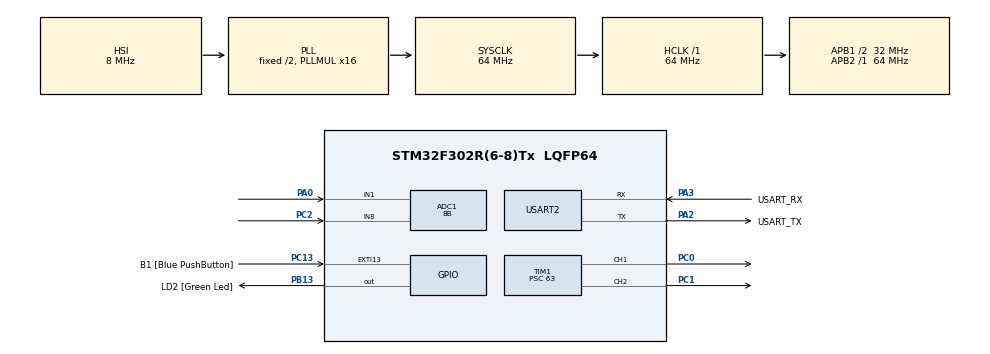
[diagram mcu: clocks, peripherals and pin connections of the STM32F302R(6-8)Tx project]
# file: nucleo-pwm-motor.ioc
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ADC1.Channel-0\#ChannelRegularConversion=ADC_CHANNEL_1
ADC1.Channel-2\#ChannelRegularConversion=ADC_CHANNEL_8
ADC1.ContinuousConvMode=ENABLE
ADC1.NbrOfConversion=2
ADC1.NbrOfConversionFlag=1
ADC1.Offset-0\#ChannelRegularConversion=0
ADC1.Offset-2\#ChannelRegularConversion=0
ADC1.OffsetNumber-0\#ChannelRegularConversion=ADC_OFFSET_NONE
ADC1.OffsetNumber-2\#ChannelRegularConversion=ADC_OFFSET_NONE
ADC1.Rank-0\#ChannelRegularConversion=1
ADC1.Rank-2\#ChannelRegularConversion=2
ADC1.Resolution=ADC_RESOLUTION_8B
ADC1.SamplingTime-0\#ChannelRegularConversion=ADC_SAMPLETIME_1CYCLE_5
ADC1.SamplingTime-2\#ChannelRegularConversion=ADC_SAMPLETIME_1CYCLE_5
ADC1.SamplingTimeOPAMP-2\#ChannelRegularConversion=ADC_SAMPLETIME_61CYCLES_5
ADC1.SequencerNbRanks=2
ADC1.master=1
Dma.Request0=USART2_RX
Dma.USART2_RX.0.Direction=DMA_PERIPH_TO_MEMORY
Dma.USART2_RX.0.Instance=DMA1_Channel6
Dma.USART2_RX.0.MemDataAlignment=DMA_MDATAALIGN_BYTE
Dma.USART2_RX.0.MemInc=DMA_MINC_ENABLE
Dma.USART2_RX.0.Mode=DMA_NORMAL
Dma.USART2_RX.0.PeriphDataAlignment=DMA_PDATAALIGN_BYTE
Dma.USART2_RX.0.PeriphInc=DMA_PINC_DISABLE
Dma.USART2_RX.0.Priority=DMA_PRIORITY_LOW
Mcu.Family=STM32F3
Mcu.Name=STM32F302R(6-8)Tx
Mcu.Package=LQFP64
NVIC.DMA1_Channel6_IRQn=true\:0\:0\:false\:false\:true\:false\:true
NVIC.PriorityGroup=NVIC_PRIORITYGROUP_0
PA0.Mode=IN1-Single-Ended
PA0.Signal=ADC1_IN1
PA13.GPIO_Label=TMS
PA13.Mode=Serial_Wire
PA13.Signal=SYS_JTMS-SWDIO
PA14.GPIO_Label=TCK
PA14.Mode=Serial_Wire
PA14.Signal=SYS_JTCK-SWCLK
PA2.GPIO_Label=USART_TX
PA2.GPIO_Mode=GPIO_MODE_AF_PP
PA2.GPIO_PuPd=GPIO_NOPULL
PA2.GPIO_Speed=GPIO_SPEED_FREQ_LOW
PA2.Mode=Asynchronous
PA2.Signal=USART2_TX
PA3.GPIO_Label=USART_RX
PA3.GPIO_Mode=GPIO_MODE_AF_PP
PA3.GPIO_PuPd=GPIO_NOPULL
PA3.GPIO_Speed=GPIO_SPEED_FREQ_LOW
PA3.Mode=Asynchronous
PA3.Signal=USART2_RX
PB13.GPIO_Label=LD2 [Green Led]
PB13.Signal=GPIO_Output
PB3.GPIO_Label=SWO
PB3.Mode=Trace_Asynchronous_SW
PB3.Signal=SYS_JTDO-TRACESWO
PC0.Signal=S_TIM1_CH1
PC1.Signal=S_TIM1_CH2
PC13.GPIO_Label=B1 [Blue PushButton]
PC13.GPIO_ModeDefaultEXTI=GPIO_MODE_IT_FALLING
PC13.Signal=GPXTI13
PC14\ -\ OSC32_IN.Mode=LSE-External-Oscillator
PC14\ -\ OSC32_IN.Signal=RCC_OSC32_IN
PC15\ -\ OSC32_OUT.Mode=LSE-External-Oscillator
PC15\ -\ OSC32_OUT.Signal=RCC_OSC32_OUT
PC2.Signal=ADCx_IN8
PF0-OSC_IN.Mode=HSE-External-Clock-Source
PF0-OSC_IN.Signal=RCC_OSC_IN
PF1-OSC_OUT.Signal=RCC_OSC_OUT
ProjectManager.HeapSize=0x200
ProjectManager.StackSize=0x400
ProjectManager.TargetToolchain=STM32CubeIDE
RCC.AHBFreq_Value=64000000
RCC.APB1CLKDivider=RCC_HCLK_DIV2
RCC.APB1Freq_Value=32000000
RCC.APB1TimFreq_Value=64000000
RCC.APB2Freq_Value=64000000
RCC.APB2TimFreq_Value=64000000
RCC.CortexFreq_Value=64000000
RCC.HCLKFreq_Value=64000000
RCC.HSE_VALUE=8000000
RCC.HSI_VALUE=8000000
RCC.PLLM=8
RCC.PLLMUL=RCC_PLL_MUL16
RCC.PLLN=336
RCC.PLLP=RCC_PLLP_DIV4
RCC.PLLQ=7
RCC.RCC_PLLsource_Clock_Source_FROM_HSE=RCC_HSE_PREDIV_DIV2
RCC.SYSCLKFreq_VALUE=64000000
RCC.SYSCLKSourceVirtual=RCC_SYSCLKSOURCE_PLLCLK
RCC.USBFreq_Value=64000000
SH.ADCx_IN8.0=ADC1_IN8,IN8-Single-Ended
SH.S_TIM1_CH1.0=TIM1_CH1,PWM Generation1 CH1
SH.S_TIM1_CH2.0=TIM1_CH2,PWM Generation2 CH2
TIM1.AutoReloadPreload=TIM_AUTORELOAD_PRELOAD_ENABLE
TIM1.Channel-PWM\ Generation1\ CH1=TIM_CHANNEL_1
TIM1.Channel-PWM\ Generation2\ CH2=TIM_CHANNEL_2
TIM1.OCPolarity_2=TIM_OCPOLARITY_LOW
TIM1.Period=99
TIM1.Prescaler=63
USART2.VirtualMode-Asynchronous=VM_ASYNC
VP_TIM1_VS_ClockSourceINT.Mode=Internal
board=NUCLEO-F302R8

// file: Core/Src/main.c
/* USER CODE BEGIN Header */
/**
  ******************************************************************************
  * @file           : main.c
  * @brief          : Main program body
  ******************************************************************************
  * @attention
  *
  * <h2><center>&copy; Copyright (c) 2023 STMicroelectronics.
  * All rights reserved.</center></h2>
  *
  * This software component is licensed by ST under BSD 3-Clause license,
  * the "License"; You may not use this file except in compliance with the
  * License. You may obtain a copy of the License at:
  *                        opensource.org/licenses/BSD-3-Clause
  *
  ******************************************************************************
  */
/* USER CODE END Header */
#include "main.h"

ADC_HandleTypeDef hadc1;

TIM_HandleTypeDef htim1;

UART_HandleTypeDef huart2;
DMA_HandleTypeDef hdma_usart2_rx;

void SystemClock_Config(void);
static void MX_GPIO_Init(void);
static void MX_DMA_Init(void);
static void MX_USART2_UART_Init(void);
static void MX_TIM1_Init(void);
static void MX_ADC1_Init(void);

/* USER CODE BEGIN 0 */
uint8_t rx_data[];
uint8_t tx_data[];
uint16_t rawValue;

void HAL_UART_RxCpltCallback(UART_HandleTypeDef *huart){

  UNUSED(huart);

  // Receive
  uint8_t buffer_1 = rx_data[0]; // Header
  uint8_t buffer_2 = rx_data[1]; // Function COde
  uint8_t buffer_3 = rx_data[2]; // PWM-A Duty Cycle
  uint8_t buffer_4 = rx_data[3]; // PWM-B Duty Cycle

  uint8_t pwm_A = buffer_3;
  uint8_t pwm_B = buffer_4;

  htim1.Instance->CCR1 = pwm_A;
  htim1.Instance->CCR2 = pwm_B;

  // Transmit
  tx_data[0] = 0x10;
  tx_data[1] = 0x03;
  tx_data[2] = rawValue;
  tx_data[3] = pwm_A;
  tx_data[4] = pwm_B;

  HAL_UART_Transmit(&huart2, tx_data, 5, HAL_MAX_DELAY);

}

/* USER CODE END 0 */

int main(void)
{

  /* MCU Configuration--------------------------------------------------------*/

  /* Reset of all peripherals, Initializes the Flash interface and the Systick. */
  HAL_Init();

  /* Configure the system clock */
  SystemClock_Config();

  /* Initialize all configured peripherals */
  MX_GPIO_Init();
  MX_DMA_Init();
  MX_USART2_UART_Init();
  MX_TIM1_Init();
  MX_ADC1_Init();
  /* USER CODE BEGIN 2 */

  // Initialize PWM
  HAL_TIM_PWM_Start(&htim1, TIM_CHANNEL_1);
  HAL_TIM_PWM_Start(&htim1, TIM_CHANNEL_2);

  // Initialize ADC
  HAL_ADC_Start(&hadc1);

  // Initialize UART and DMA
  HAL_UART_Receive_DMA(&huart2, rx_data, 4);

  /* USER CODE END 2 */

  /* Infinite loop */
  /* USER CODE BEGIN WHILE */
  while (1)
  {

	  // Q1: PWM
	  // htim1.Instance->CCR2 = 20;
	  // htim1.Instance->CCR1 = 20;

	  // Q2: ADC
	  char msg[32];

	  HAL_ADC_PollForConversion(&hadc1, HAL_MAX_DELAY);
	  rawValue = HAL_ADC_GetValue(&hadc1);
	  //sprintf(msg,"rawValue: %hu\r\n", rawValue);
	  //HAL_UART_Transmit(&huart2, (uint8_t*)msg, strlen(msg), HAL_MAX_DELAY);
      //HAL_Delay(100);

	  // Q3: UART
	  // Nothing because we are using DMA

    /* USER CODE END WHILE */

  }
}

void SystemClock_Config(void)
{
  RCC_OscInitTypeDef RCC_OscInitStruct = {0};
  RCC_ClkInitTypeDef RCC_ClkInitStruct = {0};
  RCC_PeriphCLKInitTypeDef PeriphClkInit = {0};

  /** Initializes the RCC Oscillators according to the specified parameters
  * in the RCC_OscInitTypeDef structure.
  */
  RCC_OscInitStruct.OscillatorType = RCC_OSCILLATORTYPE_HSI;
  RCC_OscInitStruct.HSIState = RCC_HSI_ON;
  RCC_OscInitStruct.HSICalibrationValue = RCC_HSICALIBRATION_DEFAULT;
  RCC_OscInitStruct.PLL.PLLState = RCC_PLL_ON;
  RCC_OscInitStruct.PLL.PLLSource = RCC_PLLSOURCE_HSI;
  RCC_OscInitStruct.PLL.PLLMUL = RCC_PLL_MUL16;
  if (HAL_RCC_OscConfig(&RCC_OscInitStruct) != HAL_OK)
  {
    Error_Handler();
  }
  /** Initializes the CPU, AHB and APB buses clocks
  */
  RCC_ClkInitStruct.ClockType = RCC_CLOCKTYPE_HCLK|RCC_CLOCKTYPE_SYSCLK
                              |RCC_CLOCKTYPE_PCLK1|RCC_CLOCKTYPE_PCLK2;
  RCC_ClkInitStruct.SYSCLKSource = RCC_SYSCLKSOURCE_PLLCLK;
  RCC_ClkInitStruct.AHBCLKDivider = RCC_SYSCLK_DIV1;
  RCC_ClkInitStruct.APB1CLKDivider = RCC_HCLK_DIV2;
  RCC_ClkInitStruct.APB2CLKDivider = RCC_HCLK_DIV1;

  if (HAL_RCC_ClockConfig(&RCC_ClkInitStruct, FLASH_LATENCY_2) != HAL_OK)
  {
    Error_Handler();
  }
  PeriphClkInit.PeriphClockSelection = RCC_PERIPHCLK_TIM1|RCC_PERIPHCLK_ADC1;
  PeriphClkInit.Tim1ClockSelection = RCC_TIM1CLK_HCLK;
  PeriphClkInit.Adc1ClockSelection = RCC_ADC1PLLCLK_DIV1;

  if (HAL_RCCEx_PeriphCLKConfig(&PeriphClkInit) != HAL_OK)
  {
    Error_Handler();
  }
}

static void MX_ADC1_Init(void)
{

  ADC_ChannelConfTypeDef sConfig = {0};

  /** Common config
  */
  hadc1.Instance = ADC1;
  hadc1.Init.ClockPrescaler = ADC_CLOCK_ASYNC_DIV1;
  hadc1.Init.Resolution = ADC_RESOLUTION_8B;
  hadc1.Init.ScanConvMode = ADC_SCAN_ENABLE;
  hadc1.Init.ContinuousConvMode = ENABLE;
  hadc1.Init.DiscontinuousConvMode = DISABLE;
  hadc1.Init.ExternalTrigConvEdge = ADC_EXTERNALTRIGCONVEDGE_NONE;
  hadc1.Init.ExternalTrigConv = ADC_SOFTWARE_START;
  hadc1.Init.DataAlign = ADC_DATAALIGN_RIGHT;
  hadc1.Init.NbrOfConversion = 2;
  hadc1.Init.DMAContinuousRequests = DISABLE;
  hadc1.Init.EOCSelection = ADC_EOC_SINGLE_CONV;
  hadc1.Init.LowPowerAutoWait = DISABLE;
  hadc1.Init.Overrun = ADC_OVR_DATA_OVERWRITTEN;
  if (HAL_ADC_Init(&hadc1) != HAL_OK)
  {
    Error_Handler();
  }
  /** Configure Regular Channel
  */
  sConfig.Channel = ADC_CHANNEL_1;
  sConfig.Rank = ADC_REGULAR_RANK_1;
  sConfig.SingleDiff = ADC_SINGLE_ENDED;
  sConfig.SamplingTime = ADC_SAMPLETIME_1CYCLE_5;
  sConfig.OffsetNumber = ADC_OFFSET_NONE;
  sConfig.Offset = 0;
  if (HAL_ADC_ConfigChannel(&hadc1, &sConfig) != HAL_OK)
  {
    Error_Handler();
  }
  /** Configure Regular Channel
  */
  sConfig.Channel = ADC_CHANNEL_8;
  sConfig.Rank = ADC_REGULAR_RANK_2;
  if (HAL_ADC_ConfigChannel(&hadc1, &sConfig) != HAL_OK)
  {
    Error_Handler();
  }

}

static void MX_TIM1_Init(void)
{

  TIM_ClockConfigTypeDef sClockSourceConfig = {0};
  TIM_MasterConfigTypeDef sMasterConfig = {0};
  TIM_OC_InitTypeDef sConfigOC = {0};
  TIM_BreakDeadTimeConfigTypeDef sBreakDeadTimeConfig = {0};

  htim1.Instance = TIM1;
  htim1.Init.Prescaler = 63;
  htim1.Init.CounterMode = TIM_COUNTERMODE_UP;
  htim1.Init.Period = 99;
  htim1.Init.ClockDivision = TIM_CLOCKDIVISION_DIV1;
  htim1.Init.RepetitionCounter = 0;
  htim1.Init.AutoReloadPreload = TIM_AUTORELOAD_PRELOAD_ENABLE;
  if (HAL_TIM_Base_Init(&htim1) != HAL_OK)
  {
    Error_Handler();
  }
  sClockSourceConfig.ClockSource = TIM_CLOCKSOURCE_INTERNAL;
  if (HAL_TIM_ConfigClockSource(&htim1, &sClockSourceConfig) != HAL_OK)
  {
    Error_Handler();
  }
  if (HAL_TIM_PWM_Init(&htim1) != HAL_OK)
  {
    Error_Handler();
  }
  sMasterConfig.MasterOutputTrigger = TIM_TRGO_RESET;
  sMasterConfig.MasterOutputTrigger2 = TIM_TRGO2_RESET;
  sMasterConfig.MasterSlaveMode = TIM_MASTERSLAVEMODE_DISABLE;
  if (HAL_TIMEx_MasterConfigSynchronization(&htim1, &sMasterConfig) != HAL_OK)
  {
    Error_Handler();
  }
  sConfigOC.OCMode = TIM_OCMODE_PWM1;
  sConfigOC.Pulse = 0;
  sConfigOC.OCPolarity = TIM_OCPOLARITY_HIGH;
  sConfigOC.OCNPolarity = TIM_OCNPOLARITY_HIGH;
  sConfigOC.OCFastMode = TIM_OCFAST_DISABLE;
  sConfigOC.OCIdleState = TIM_OCIDLESTATE_RESET;
  sConfigOC.OCNIdleState = TIM_OCNIDLESTATE_RESET;
  if (HAL_TIM_PWM_ConfigChannel(&htim1, &sConfigOC, TIM_CHANNEL_1) != HAL_OK)
  {
    Error_Handler();
  }
  sConfigOC.OCPolarity = TIM_OCPOLARITY_LOW;
  if (HAL_TIM_PWM_ConfigChannel(&htim1, &sConfigOC, TIM_CHANNEL_2) != HAL_OK)
  {
    Error_Handler();
  }
  sBreakDeadTimeConfig.OffStateRunMode = TIM_OSSR_DISABLE;
  sBreakDeadTimeConfig.OffStateIDLEMode = TIM_OSSI_DISABLE;
  sBreakDeadTimeConfig.LockLevel = TIM_LOCKLEVEL_OFF;
  sBreakDeadTimeConfig.DeadTime = 0;
  sBreakDeadTimeConfig.BreakState = TIM_BREAK_DISABLE;
  sBreakDeadTimeConfig.BreakPolarity = TIM_BREAKPOLARITY_HIGH;
  sBreakDeadTimeConfig.BreakFilter = 0;
  sBreakDeadTimeConfig.Break2State = TIM_BREAK2_DISABLE;
  sBreakDeadTimeConfig.Break2Polarity = TIM_BREAK2POLARITY_HIGH;
  sBreakDeadTimeConfig.Break2Filter = 0;
  sBreakDeadTimeConfig.AutomaticOutput = TIM_AUTOMATICOUTPUT_DISABLE;
  if (HAL_TIMEx_ConfigBreakDeadTime(&htim1, &sBreakDeadTimeConfig) != HAL_OK)
  {
    Error_Handler();
  }
  HAL_TIM_MspPostInit(&htim1);

}

static void MX_USART2_UART_Init(void)
{

  huart2.Instance = USART2;
  huart2.Init.BaudRate = 38400;
  huart2.Init.WordLength = UART_WORDLENGTH_8B;
  huart2.Init.StopBits = UART_STOPBITS_1;
  huart2.Init.Parity = UART_PARITY_NONE;
  huart2.Init.Mode = UART_MODE_TX_RX;
  huart2.Init.HwFlowCtl = UART_HWCONTROL_NONE;
  huart2.Init.OverSampling = UART_OVERSAMPLING_16;
  huart2.Init.OneBitSampling = UART_ONE_BIT_SAMPLE_DISABLE;
  huart2.AdvancedInit.AdvFeatureInit = UART_ADVFEATURE_NO_INIT;
  if (HAL_UART_Init(&huart2) != HAL_OK)
  {
    Error_Handler();
  }

}

static void MX_DMA_Init(void)
{

  /* DMA controller clock enable */
  __HAL_RCC_DMA1_CLK_ENABLE();

  /* DMA interrupt init */
  /* DMA1_Channel6_IRQn interrupt configuration */
  HAL_NVIC_SetPriority(DMA1_Channel6_IRQn, 0, 0);
  HAL_NVIC_EnableIRQ(DMA1_Channel6_IRQn);

}

static void MX_GPIO_Init(void)
{
  GPIO_InitTypeDef GPIO_InitStruct = {0};

  /* GPIO Ports Clock Enable */
  __HAL_RCC_GPIOC_CLK_ENABLE();
  __HAL_RCC_GPIOF_CLK_ENABLE();
  __HAL_RCC_GPIOA_CLK_ENABLE();
  __HAL_RCC_GPIOB_CLK_ENABLE();

  /*Configure GPIO pin Output Level */
  HAL_GPIO_WritePin(LD2_GPIO_Port, LD2_Pin, GPIO_PIN_RESET);

  /*Configure GPIO pin : B1_Pin */
  GPIO_InitStruct.Pin = B1_Pin;
  GPIO_InitStruct.Mode = GPIO_MODE_IT_FALLING;
  GPIO_InitStruct.Pull = GPIO_NOPULL;
  HAL_GPIO_Init(B1_GPIO_Port, &GPIO_InitStruct);

  /*Configure GPIO pin : LD2_Pin */
  GPIO_InitStruct.Pin = LD2_Pin;
  GPIO_InitStruct.Mode = GPIO_MODE_OUTPUT_PP;
  GPIO_InitStruct.Pull = GPIO_NOPULL;
  GPIO_InitStruct.Speed = GPIO_SPEED_FREQ_LOW;
  HAL_GPIO_Init(LD2_GPIO_Port, &GPIO_InitStruct);

}

void Error_Handler(void)
{
  __disable_irq();
  while (1)
  {
  }
}

/************************ (C) COPYRIGHT STMicroelectronics *****END OF FILE****/
